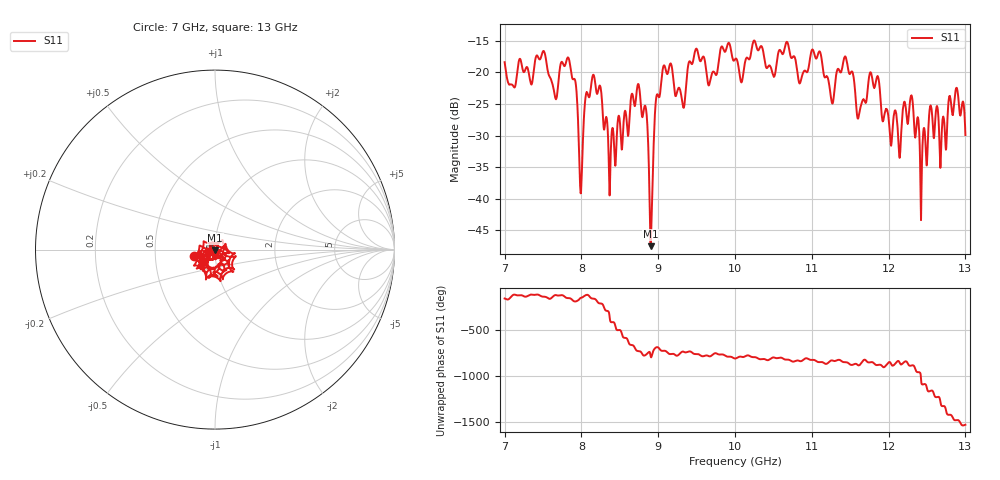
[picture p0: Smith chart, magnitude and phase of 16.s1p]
[Version] 2.0
! Rohde & Schwarz Vector Network Analyzer
! Rohde-Schwarz,ZNL20-2Port,1323001220200009,1.71.1.10-23.02.1.238
! Trace info:
! Nominal Param -> Actual Exported Buffer
! S11 -> S22
! Created: GMT+3 2024-09-24 16:39:38
# Hz S DB R 50
[Number of Ports] 1
! freq[Hz]  S11[mag dB]  S11[ang]
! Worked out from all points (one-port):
!   6001 points, 7 GHz to 13 GHz, reference 50 ohm
!   lowest |S11| = -47.5 dB at 8.902 GHz (marker M1), VSWR 1.01, Z = 50.1 - j0.406 ohm
!   |S11| at or under -10 dB: start of sweep to end of sweep
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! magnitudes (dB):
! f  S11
! 7 GHz  -18.4
! 7.507 GHz  -16.6
! 7.664 GHz  -24.2
! 7.75 GHz  -18.4
! 7.917 GHz  -21.2
! 7.991 GHz  -39.1
! 8.056 GHz  -23.7
! 8.151 GHz  -20.4
! 8.366 GHz  -39.4
! 8.5 GHz  -27.7
! 8.745 GHz  -21.9
! 8.843 GHz  -26.0
! 8.902 GHz  -47.5
! 8.971 GHz  -24.3
! 9.063 GHz  -19.2
! 9.25 GHz  -22.9
! 10 GHz  -17.9
! 10.75 GHz  -17.6
! 11.1 GHz  -16.7
! 11.27 GHz  -24.9
! 11.5 GHz  -20.2
! 11.61 GHz  -27.2
! 11.77 GHz  -20.0
! 12.03 GHz  -31.5
! 12.25 GHz  -28.1
! 12.43 GHz  -39.6
! 12.55 GHz  -25.3
! 13 GHz  -29.9
